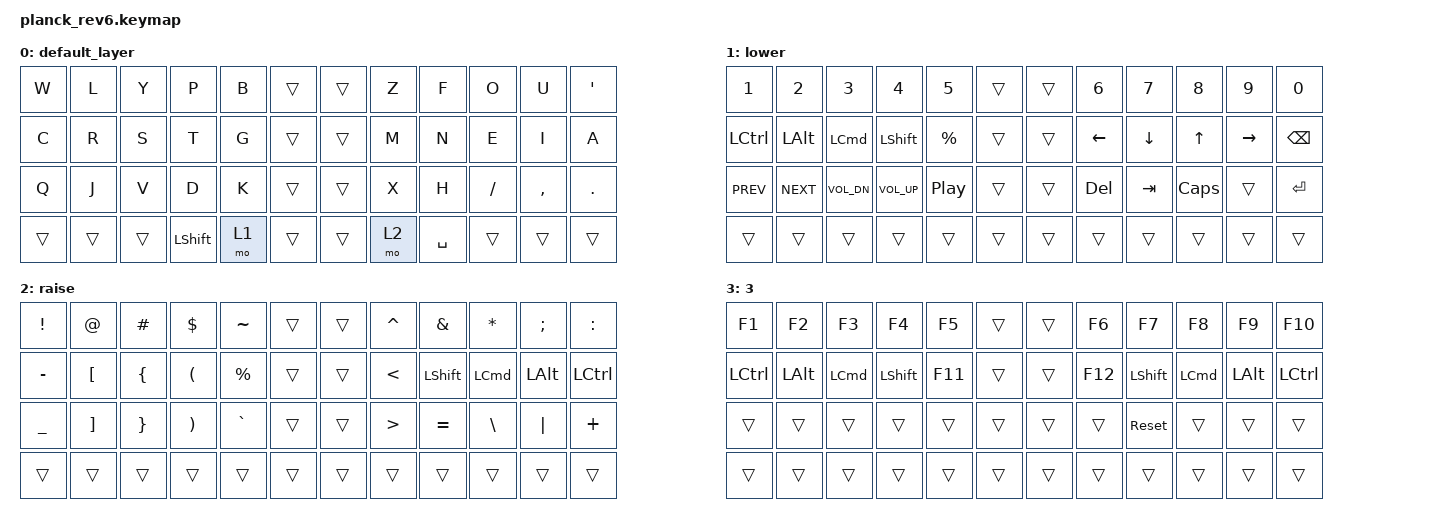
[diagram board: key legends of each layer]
/*
 * Copyright (c) 2020 The ZMK Contributors
 *
 * SPDX-License-Identifier: MIT
 */

#include <behaviors.dtsi>
#include <dt-bindings/zmk/keys.h>

/ {
    conditional_layers {
        compatible = "zmk,conditional-layers";
        tri_layer {
            if-layers = <1 2>;
            then-layer = <3>;
        };
    };
};

/ {
    combos {
        compatible = "zmk,combos";
        combo_esc {
            timeout-ms = <50>;
            layers = <0>;
            key-positions = <24 25>;
            bindings = <&kp ESC>;
        };
        combo_enter {
            timeout-ms = <50>;
            layers = <0>;
            key-positions = <30 31>;
            bindings = <&kp ENTER>;
        };
    };
};

/ {
    keymap {
        compatible = "zmk,keymap";

        default_layer {
            bindings = <
                &kp W  &kp L  &kp Y  &kp P     &kp B &trans  &trans  &kp Z  &kp F     &kp O      &kp U     &kp APOS
                &kp C  &kp R  &kp S  &kp T     &kp G &trans  &trans  &kp M  &kp N     &kp E      &kp I    &kp A
                &kp Q  &kp J  &kp V  &kp D     &kp K &trans  &trans  &kp X  &kp H     &kp SLASH  &kp COMMA &kp DOT 
                &trans &trans &trans &kp LSHFT &mo 1 &trans  &trans  &mo 2  &kp SPACE &trans     &trans    &trans
            >;
        };

        lower {
            bindings = <
                &kp N1     &kp N2     &kp N3       &kp N4       &kp N5      &trans  &trans &kp N6   &kp N7   &kp N8   &kp N9    &kp N0
                &kp LCTRL  &kp LALT   &kp LCMD     &kp LSHFT    &kp PRCNT   &trans  &trans &kp LEFT_ARROW &kp DOWN_ARROW &kp UP_ARROW &kp RIGHT_ARROW &kp BSPC
                &kp C_PREV &kp C_NEXT &kp C_VOL_DN &kp C_VOL_UP &kp C_PP    &trans  &trans &kp DEL  &kp TAB  &kp CAPS &trans    &kp ENTER
                &trans     &trans     &trans       &trans       &trans      &trans  &trans &trans   &trans   &trans   &trans    &trans
            >;
        };

        raise {
            bindings = <
                &kp EXCL  &kp AT   &kp POUND &kp DLLR &kp TILDE   &trans &trans &kp CARET &kp AMPS  &kp STAR &kp SEMI &kp COLON
                &kp MINUS &kp LBKT &kp LBRC  &kp LPAR &kp PERCENT &trans &trans &kp LT    &kp LSHFT &kp LCMD &kp LALT &kp LCTRL
                &kp UNDER &kp RBKT &kp RBRC  &kp RPAR &kp GRAVE   &trans &trans &kp GT    &kp EQUAL &kp BSLH &kp PIPE &kp PLUS
                &trans    &trans   &trans    &trans   &trans      &trans &trans &trans    &trans    &trans   &trans   &trans
            >;
        };

         3 {
            bindings = <
                &kp F1    &kp F2   &kp F3   &kp F4    &kp F5  &trans &trans &kp F6 &kp F7    &kp F8   &kp F9   &kp F10
                &kp LCTRL &kp LALT &kp LCMD &kp LSHFT &kp F11 &trans &trans &kp F12 &kp LSHFT &kp LCMD &kp LALT &kp LCTRL
                &trans    &trans   &trans   &trans    &trans  &trans &trans &trans &sys_reset    &trans   &trans   &trans
                &trans    &trans   &trans   &trans    &trans  &trans &trans &trans &trans    &trans   &trans   &trans
            >;
        };
    };
};
